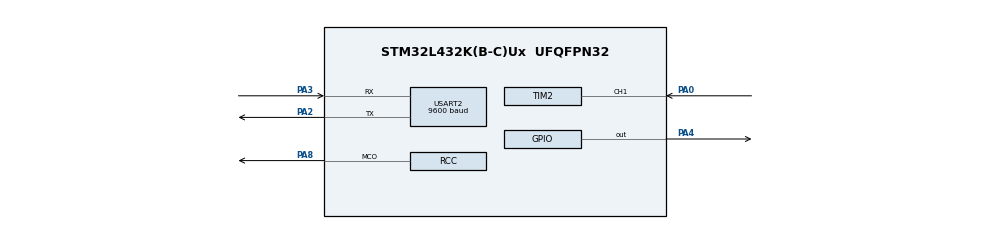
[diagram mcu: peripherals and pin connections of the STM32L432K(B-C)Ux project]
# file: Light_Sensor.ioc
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ADC1.Channel-0\#ChannelRegularConversion=ADC_CHANNEL_TEMPSENSOR
ADC1.NbrOfConversion=1
ADC1.NbrOfConversionFlag=1
ADC1.OffsetNumber-0\#ChannelRegularConversion=ADC_OFFSET_NONE
ADC1.Rank-0\#ChannelRegularConversion=1
ADC1.SamplingTime-0\#ChannelRegularConversion=ADC_SAMPLETIME_640CYCLES_5
ADC1.master=1
Mcu.Family=STM32L4
Mcu.Name=STM32L432K(B-C)Ux
Mcu.Package=UFQFPN32
NVIC.PriorityGroup=NVIC_PRIORITYGROUP_4
NVIC.RTC_Alarm_IRQn=true\:0\:0\:false\:false\:true\:true\:true\:true
NVIC.TIM2_IRQn=true\:0\:0\:false\:false\:true\:true\:true\:true
NVIC.USART2_IRQn=true\:0\:0\:false\:false\:true\:true\:true\:true
PA0.Signal=S_TIM2_CH1
PA13\ (JTMS-SWDIO).Mode=Serial_Wire
PA13\ (JTMS-SWDIO).Signal=SYS_JTMS-SWDIO
PA14\ (JTCK-SWCLK).Mode=Serial_Wire
PA14\ (JTCK-SWCLK).Signal=SYS_JTCK-SWCLK
PA2.Mode=Asynchronous
PA2.Signal=USART2_TX
PA3.Mode=Asynchronous
PA3.Signal=USART2_RX
PA4.Signal=GPIO_Output
PA8.Mode=Clock-out
PA8.Signal=RCC_MCO
PB3\ (JTDO-TRACESWO).Signal=SYS_JTDO-SWO
PC14-OSC32_IN\ (PC14).Mode=LSE-External-Oscillator
PC14-OSC32_IN\ (PC14).Signal=RCC_OSC32_IN
PC15-OSC32_OUT\ (PC15).Mode=LSE-External-Oscillator
PC15-OSC32_OUT\ (PC15).Signal=RCC_OSC32_OUT
ProjectManager.HeapSize=0x200
ProjectManager.StackSize=0x400
ProjectManager.TargetToolchain=CMake
RCC.ADCFreq_Value=32000000
RCC.HSE_VALUE=8000000
RCC.HSI48_VALUE=48000000
RCC.HSI_VALUE=16000000
RCC.MSI_VALUE=4000000
RCC.PLLSAI1N=16
RCC.USBFreq_Value=32000000
RCC.VCOOutputFreq_Value=32000000
RTC.Alarm=RTC_ALARM_A
RTC.Date=15
RTC.Month=RTC_MONTH_MAY
RTC.Seconds_A=30
RTC.Year=26
SH.S_TIM2_CH1.0=TIM2_CH1,Input_Capture1_from_TI1
TIM2.Channel-Input_Capture1_from_TI1=TIM_CHANNEL_1
USART2.BaudRate=9600
USART2.VirtualMode-Asynchronous=VM_ASYNC
VP_ADC1_TempSens_Input.Mode=IN-TempSens
VP_ADC1_Vref_Input.Mode=IN-Vrefint
VP_RTC_VS_RTC_Activate.Mode=RTC_Enabled
VP_RTC_VS_RTC_Alarm_A_Intern.Mode=Alarm A
VP_RTC_VS_RTC_Calendar.Mode=RTC_Calendar
VP_TIM2_VS_ClockSourceINT.Mode=Internal
board=custom

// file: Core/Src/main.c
/* USER CODE BEGIN Header */
/**
  ******************************************************************************
  * @file           : main.c
  * @brief          : Main program body
  ******************************************************************************
  * @attention
  *
  * Copyright (c) 2026 STMicroelectronics.
  * All rights reserved.
  *
  * This software is licensed under terms that can be found in the LICENSE file
  * in the root directory of this software component.
  * If no LICENSE file comes with this software, it is provided AS-IS.
  *
  ******************************************************************************
  */
/* USER CODE END Header */
#include "main.h"

/* USER CODE BEGIN Includes */
#include <retarget.h>
#include <stdio.h>
#include <string.h>
#include <stdlib.h>
#include <stm32l4xx_ll_usart.h>

#include "command.h"
#include "queue.h"
#include "rtc.h"
#include "temperature.h"
#include "battery.h"
#include "sample.h"
/* USER CODE END Includes */

/* USER CODE BEGIN PD */
#define CLEAR_SCREEN "\033[2J\033[H"
/* USER CODE END PD */

/* USER CODE BEGIN PM */
int MAX_COMMAND_LEN = 32;
/* USER CODE END PM */

ADC_HandleTypeDef hadc1;

RTC_HandleTypeDef hrtc;

TIM_HandleTypeDef htim2;

UART_HandleTypeDef huart2;

/* USER CODE BEGIN PV */
queue_t rx_queue;

volatile uint8_t alarm = 0;
/* USER CODE END PV */

void SystemClock_Config(void);
static void MX_GPIO_Init(void);
static void MX_TIM2_Init(void);
static void MX_USART2_UART_Init(void);
static void MX_ADC1_Init(void);
static void MX_RTC_Init(void);

/* USER CODE BEGIN 0 */
enum states {FIRST_EDGE, SECOND_EDGE};
/* USER CODE END 0 */

int main(void)
{

  /* MCU Configuration--------------------------------------------------------*/

  /* Reset of all peripherals, Initializes the Flash interface and the Systick. */
  HAL_Init();

  /* USER CODE BEGIN Init */
  init_queue(&rx_queue);
  /* USER CODE END Init */

  /* Configure the system clock */
  SystemClock_Config();

  /* Initialize all configured peripherals */
  MX_GPIO_Init();
  MX_TIM2_Init();
  MX_USART2_UART_Init();
  MX_ADC1_Init();
  MX_RTC_Init();
  /* USER CODE BEGIN 2 */
  RetargetInit(&huart2);

  printf(CLEAR_SCREEN);
  printf("\n\r*********************\n\rSystem Up and Running\n\r");
  prompt();
  uint8_t command[MAX_COMMAND_LEN];
  int command_length = 0;
  /* USER CODE END 2 */

  /* Infinite loop */
  /* USER CODE BEGIN WHILE */

  while(1)
  {
	  if (get_command(command)) {
		  //		command_length = delspace(command);
		  if (command_length != -1) {
			  if(execute_command(command)) {
				  printf("NOK\n\r");
				  prompt();
				  printf("\n\r");
			  }
			  else {
				  prompt();
			  }
		  }
		  else {
			  printf("NOK\n\r");
		  }
	  }
	  if (alarm){
		  printf("\n\rAlarm happened\n\r");
		  prompt();
		  alarm = 0;
		  sample();
	  }
  }
    /* USER CODE END WHILE */

}

void SystemClock_Config(void)
{
  RCC_OscInitTypeDef RCC_OscInitStruct = {0};
  RCC_ClkInitTypeDef RCC_ClkInitStruct = {0};

  /** Configure the main internal regulator output voltage
  */
  if (HAL_PWREx_ControlVoltageScaling(PWR_REGULATOR_VOLTAGE_SCALE1) != HAL_OK)
  {
    Error_Handler();
  }

  /** Configure LSE Drive Capability
  */
  HAL_PWR_EnableBkUpAccess();
  __HAL_RCC_LSEDRIVE_CONFIG(RCC_LSEDRIVE_LOW);

  /** Initializes the RCC Oscillators according to the specified parameters
  * in the RCC_OscInitTypeDef structure.
  */
  RCC_OscInitStruct.OscillatorType = RCC_OSCILLATORTYPE_LSI|RCC_OSCILLATORTYPE_LSE
                              |RCC_OSCILLATORTYPE_MSI;
  RCC_OscInitStruct.LSEState = RCC_LSE_ON;
  RCC_OscInitStruct.LSIState = RCC_LSI_ON;
  RCC_OscInitStruct.MSIState = RCC_MSI_ON;
  RCC_OscInitStruct.MSICalibrationValue = 0;
  RCC_OscInitStruct.MSIClockRange = RCC_MSIRANGE_6;
  RCC_OscInitStruct.PLL.PLLState = RCC_PLL_NONE;
  if (HAL_RCC_OscConfig(&RCC_OscInitStruct) != HAL_OK)
  {
    Error_Handler();
  }

  /** Initializes the CPU, AHB and APB buses clocks
  */
  RCC_ClkInitStruct.ClockType = RCC_CLOCKTYPE_HCLK|RCC_CLOCKTYPE_SYSCLK
                              |RCC_CLOCKTYPE_PCLK1|RCC_CLOCKTYPE_PCLK2;
  RCC_ClkInitStruct.SYSCLKSource = RCC_SYSCLKSOURCE_MSI;
  RCC_ClkInitStruct.AHBCLKDivider = RCC_SYSCLK_DIV1;
  RCC_ClkInitStruct.APB1CLKDivider = RCC_HCLK_DIV1;
  RCC_ClkInitStruct.APB2CLKDivider = RCC_HCLK_DIV1;

  if (HAL_RCC_ClockConfig(&RCC_ClkInitStruct, FLASH_LATENCY_0) != HAL_OK)
  {
    Error_Handler();
  }
  HAL_RCC_MCOConfig(RCC_MCO1, RCC_MCO1SOURCE_SYSCLK, RCC_MCODIV_1);

  /** Enable MSI Auto calibration
  */
  HAL_RCCEx_EnableMSIPLLMode();
}

static void MX_ADC1_Init(void)
{

  ADC_ChannelConfTypeDef sConfig = {0};

  /** Common config
  */
  hadc1.Instance = ADC1;
  hadc1.Init.ClockPrescaler = ADC_CLOCK_ASYNC_DIV1;
  hadc1.Init.Resolution = ADC_RESOLUTION_12B;
  hadc1.Init.DataAlign = ADC_DATAALIGN_RIGHT;
  hadc1.Init.ScanConvMode = ADC_SCAN_DISABLE;
  hadc1.Init.EOCSelection = ADC_EOC_SINGLE_CONV;
  hadc1.Init.LowPowerAutoWait = DISABLE;
  hadc1.Init.ContinuousConvMode = DISABLE;
  hadc1.Init.NbrOfConversion = 1;
  hadc1.Init.DiscontinuousConvMode = DISABLE;
  hadc1.Init.ExternalTrigConv = ADC_SOFTWARE_START;
  hadc1.Init.ExternalTrigConvEdge = ADC_EXTERNALTRIGCONVEDGE_NONE;
  hadc1.Init.DMAContinuousRequests = DISABLE;
  hadc1.Init.Overrun = ADC_OVR_DATA_PRESERVED;
  hadc1.Init.OversamplingMode = DISABLE;
  if (HAL_ADC_Init(&hadc1) != HAL_OK)
  {
    Error_Handler();
  }

  /** Configure Regular Channel
  */
  sConfig.Channel = ADC_CHANNEL_TEMPSENSOR;
  sConfig.Rank = ADC_REGULAR_RANK_1;
  sConfig.SamplingTime = ADC_SAMPLETIME_640CYCLES_5;
  sConfig.SingleDiff = ADC_SINGLE_ENDED;
  sConfig.OffsetNumber = ADC_OFFSET_NONE;
  sConfig.Offset = 0;
  if (HAL_ADC_ConfigChannel(&hadc1, &sConfig) != HAL_OK)
  {
    Error_Handler();
  }

}

static void MX_RTC_Init(void)
{

  RTC_TimeTypeDef sTime = {0};
  RTC_DateTypeDef sDate = {0};
  RTC_AlarmTypeDef sAlarm = {0};

  /** Initialize RTC Only
  */
  hrtc.Instance = RTC;
  hrtc.Init.HourFormat = RTC_HOURFORMAT_24;
  hrtc.Init.AsynchPrediv = 127;
  hrtc.Init.SynchPrediv = 255;
  hrtc.Init.OutPut = RTC_OUTPUT_DISABLE;
  hrtc.Init.OutPutRemap = RTC_OUTPUT_REMAP_NONE;
  hrtc.Init.OutPutPolarity = RTC_OUTPUT_POLARITY_HIGH;
  hrtc.Init.OutPutType = RTC_OUTPUT_TYPE_OPENDRAIN;
  if (HAL_RTC_Init(&hrtc) != HAL_OK)
  {
    Error_Handler();
  }

  /** Initialize RTC and set the Time and Date
  */
  sTime.Hours = 0x0;
  sTime.Minutes = 0x0;
  sTime.Seconds = 0x0;
  sTime.DayLightSaving = RTC_DAYLIGHTSAVING_NONE;
  sTime.StoreOperation = RTC_STOREOPERATION_RESET;
  if (HAL_RTC_SetTime(&hrtc, &sTime, RTC_FORMAT_BCD) != HAL_OK)
  {
    Error_Handler();
  }
  sDate.WeekDay = RTC_WEEKDAY_MONDAY;
  sDate.Month = RTC_MONTH_MAY;
  sDate.Date = 0x15;
  sDate.Year = 0x26;

  if (HAL_RTC_SetDate(&hrtc, &sDate, RTC_FORMAT_BCD) != HAL_OK)
  {
    Error_Handler();
  }

  /** Enable the Alarm A
  */
  sAlarm.AlarmTime.Hours = 0x0;
  sAlarm.AlarmTime.Minutes = 0x0;
  sAlarm.AlarmTime.Seconds = 0x30;
  sAlarm.AlarmTime.SubSeconds = 0x0;
  sAlarm.AlarmTime.DayLightSaving = RTC_DAYLIGHTSAVING_NONE;
  sAlarm.AlarmTime.StoreOperation = RTC_STOREOPERATION_RESET;
  sAlarm.AlarmMask = RTC_ALARMMASK_NONE;
  sAlarm.AlarmSubSecondMask = RTC_ALARMSUBSECONDMASK_ALL;
  sAlarm.AlarmDateWeekDaySel = RTC_ALARMDATEWEEKDAYSEL_DATE;
  sAlarm.AlarmDateWeekDay = 0x1;
  sAlarm.Alarm = RTC_ALARM_A;
  if (HAL_RTC_SetAlarm_IT(&hrtc, &sAlarm, RTC_FORMAT_BCD) != HAL_OK)
  {
    Error_Handler();
  }

}

static void MX_TIM2_Init(void)
{

  TIM_ClockConfigTypeDef sClockSourceConfig = {0};
  TIM_MasterConfigTypeDef sMasterConfig = {0};
  TIM_IC_InitTypeDef sConfigIC = {0};

  htim2.Instance = TIM2;
  htim2.Init.Prescaler = 79;
  htim2.Init.CounterMode = TIM_COUNTERMODE_UP;
  htim2.Init.Period = 4294967295;
  htim2.Init.ClockDivision = TIM_CLOCKDIVISION_DIV1;
  htim2.Init.AutoReloadPreload = TIM_AUTORELOAD_PRELOAD_DISABLE;
  if (HAL_TIM_Base_Init(&htim2) != HAL_OK)
  {
    Error_Handler();
  }
  sClockSourceConfig.ClockSource = TIM_CLOCKSOURCE_INTERNAL;
  if (HAL_TIM_ConfigClockSource(&htim2, &sClockSourceConfig) != HAL_OK)
  {
    Error_Handler();
  }
  if (HAL_TIM_IC_Init(&htim2) != HAL_OK)
  {
    Error_Handler();
  }
  sMasterConfig.MasterOutputTrigger = TIM_TRGO_RESET;
  sMasterConfig.MasterSlaveMode = TIM_MASTERSLAVEMODE_DISABLE;
  if (HAL_TIMEx_MasterConfigSynchronization(&htim2, &sMasterConfig) != HAL_OK)
  {
    Error_Handler();
  }
  sConfigIC.ICPolarity = TIM_INPUTCHANNELPOLARITY_RISING;
  sConfigIC.ICSelection = TIM_ICSELECTION_DIRECTTI;
  sConfigIC.ICPrescaler = TIM_ICPSC_DIV1;
  sConfigIC.ICFilter = 8;
  if (HAL_TIM_IC_ConfigChannel(&htim2, &sConfigIC, TIM_CHANNEL_1) != HAL_OK)
  {
    Error_Handler();
  }

}

static void MX_USART2_UART_Init(void)
{

  huart2.Instance = USART2;
  huart2.Init.BaudRate = 9600;
  huart2.Init.WordLength = UART_WORDLENGTH_8B;
  huart2.Init.StopBits = UART_STOPBITS_1;
  huart2.Init.Parity = UART_PARITY_NONE;
  huart2.Init.Mode = UART_MODE_TX_RX;
  huart2.Init.HwFlowCtl = UART_HWCONTROL_NONE;
  huart2.Init.OverSampling = UART_OVERSAMPLING_16;
  huart2.Init.OneBitSampling = UART_ONE_BIT_SAMPLE_DISABLE;
  huart2.AdvancedInit.AdvFeatureInit = UART_ADVFEATURE_NO_INIT;
  if (HAL_UART_Init(&huart2) != HAL_OK)
  {
    Error_Handler();
  }
  /* USER CODE BEGIN USART2_Init 2 */
  LL_USART_EnableIT_RXNE(USART2);
  /* USER CODE END USART2_Init 2 */

}

static void MX_GPIO_Init(void)
{
  GPIO_InitTypeDef GPIO_InitStruct = {0};

  /* GPIO Ports Clock Enable */
  __HAL_RCC_GPIOC_CLK_ENABLE();
  __HAL_RCC_GPIOA_CLK_ENABLE();
  __HAL_RCC_GPIOB_CLK_ENABLE();

  /*Configure GPIO pin Output Level */
  HAL_GPIO_WritePin(GPIOA, GPIO_PIN_4, GPIO_PIN_RESET);

  /*Configure GPIO pin : PA4 */
  GPIO_InitStruct.Pin = GPIO_PIN_4;
  GPIO_InitStruct.Mode = GPIO_MODE_OUTPUT_PP;
  GPIO_InitStruct.Pull = GPIO_PULLUP;
  GPIO_InitStruct.Speed = GPIO_SPEED_FREQ_LOW;
  HAL_GPIO_Init(GPIOA, &GPIO_InitStruct);

  /*Configure GPIO pin : PA0 (TIM2_CH1 - TSL237 input capture) */
  GPIO_InitStruct.Pin = GPIO_PIN_0;
  GPIO_InitStruct.Mode = GPIO_MODE_AF_PP;
  GPIO_InitStruct.Pull = GPIO_NOPULL;
  GPIO_InitStruct.Speed = GPIO_SPEED_FREQ_LOW;
  GPIO_InitStruct.Alternate = GPIO_AF1_TIM2;
  HAL_GPIO_Init(GPIOA, &GPIO_InitStruct);

  /*Configure GPIO pin : PA8 */
  GPIO_InitStruct.Pin = GPIO_PIN_8;
  GPIO_InitStruct.Mode = GPIO_MODE_AF_PP;
  GPIO_InitStruct.Pull = GPIO_NOPULL;
  GPIO_InitStruct.Speed = GPIO_SPEED_FREQ_LOW;
  GPIO_InitStruct.Alternate = GPIO_AF0_MCO;
  HAL_GPIO_Init(GPIOA, &GPIO_InitStruct);

}

void Error_Handler(void)
{
  __disable_irq();
  while (1)
  {
  }
}
